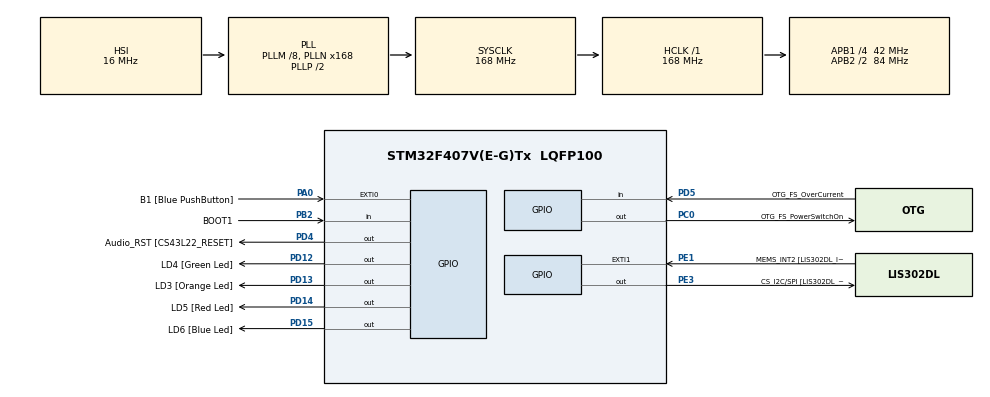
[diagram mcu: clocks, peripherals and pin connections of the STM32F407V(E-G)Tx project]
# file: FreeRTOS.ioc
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FREERTOS.INCLUDE_eTaskGetState=1
FREERTOS.INCLUDE_pcTaskGetTaskName=1
FREERTOS.INCLUDE_uxTaskGetStackHighWaterMark=1
FREERTOS.INCLUDE_uxTaskGetStackHighWaterMark2=1
FREERTOS.INCLUDE_vTaskCleanUpResources=1
FREERTOS.INCLUDE_vTaskDelayUntil=1
FREERTOS.INCLUDE_xQueueGetMutexHolder=1
FREERTOS.INCLUDE_xSemaphoreGetMutexHolder=1
FREERTOS.INCLUDE_xTaskAbortDelay=1
FREERTOS.INCLUDE_xTaskGetCurrentTaskHandle=1
FREERTOS.INCLUDE_xTaskGetHandle=1
FREERTOS.Tasks01=defaultTask,0,128,StartDefaultTask,Default,NULL,Dynamic,NULL,NULL
FREERTOS.configCHECK_FOR_STACK_OVERFLOW=2
FREERTOS.configENABLE_FPU=1
FREERTOS.configGENERATE_RUN_TIME_STATS=1
FREERTOS.configRECORD_STACK_HIGH_ADDRESS=1
FREERTOS.configUSE_APPLICATION_TASK_TAG=1
FREERTOS.configUSE_COUNTING_SEMAPHORES=1
FREERTOS.configUSE_CO_ROUTINES=1
FREERTOS.configUSE_IDLE_HOOK=1
FREERTOS.configUSE_MALLOC_FAILED_HOOK=1
FREERTOS.configUSE_NEWLIB_REENTRANT=1
FREERTOS.configUSE_POSIX_ERRNO=1
FREERTOS.configUSE_RECURSIVE_MUTEXES=1
FREERTOS.configUSE_STATS_FORMATTING_FUNCTIONS=1
FREERTOS.configUSE_TICKLESS_IDLE=1
FREERTOS.configUSE_TICK_HOOK=1
FREERTOS.configUSE_TIMERS=0
FREERTOS.configUSE_TRACE_FACILITY=1
Mcu.Family=STM32F4
Mcu.Name=STM32F407V(E-G)Tx
Mcu.Package=LQFP100
NVIC.PriorityGroup=NVIC_PRIORITYGROUP_4
NVIC.TIM6_DAC_IRQn=true\:15\:0\:false\:false\:true\:false\:false\:true\:true
NVIC.TimeBase=TIM6_DAC_IRQn
NVIC.TimeBaseIP=TIM6
PA0-WKUP.GPIO_Label=B1 [Blue PushButton]
PA0-WKUP.Signal=GPXTI0
PA10.GPIO_Label=OTG_FS_ID
PA10.GPIO_Mode=GPIO_MODE_AF_PP
PA10.GPIO_PuPd=GPIO_NOPULL
PA10.GPIO_Speed=GPIO_SPEED_FREQ_LOW
PA10.Signal=USB_OTG_FS_ID
PA11.GPIO_Label=OTG_FS_DM
PA11.GPIO_Mode=GPIO_MODE_AF_PP
PA11.GPIO_PuPd=GPIO_NOPULL
PA11.GPIO_Speed=GPIO_SPEED_FREQ_LOW
PA11.Signal=USB_OTG_FS_DM
PA12.GPIO_Label=OTG_FS_DP
PA12.GPIO_Mode=GPIO_MODE_AF_PP
PA12.GPIO_PuPd=GPIO_NOPULL
PA12.GPIO_Speed=GPIO_SPEED_FREQ_LOW
PA12.Signal=USB_OTG_FS_DP
PA13.GPIO_Label=SWDIO
PA13.Signal=SYS_JTMS-SWDIO
PA14.GPIO_Label=SWCLK
PA14.Signal=SYS_JTCK-SWCLK
PA4.GPIO_Label=I2S3_WS [CS43L22_LRCK]
PA4.GPIO_Mode=GPIO_MODE_AF_PP
PA4.GPIO_PuPd=GPIO_NOPULL
PA4.GPIO_Speed=GPIO_SPEED_FREQ_LOW
PA4.Signal=I2S3_WS
PA5.GPIO_Label=SPI1_SCK [LIS302DL_SCL/SPC]
PA5.GPIO_Mode=GPIO_MODE_AF_PP
PA5.GPIO_PuPd=GPIO_NOPULL
PA5.GPIO_Speed=GPIO_SPEED_FREQ_LOW
PA5.Signal=SPI1_SCK
PA6.GPIO_Label=SPI1_MISO [LIS302DL_SDO]
PA6.GPIO_Mode=GPIO_MODE_AF_PP
PA6.GPIO_PuPd=GPIO_NOPULL
PA6.GPIO_Speed=GPIO_SPEED_FREQ_LOW
PA6.Signal=SPI1_MISO
PA7.GPIO_Label=SPI1_MOSI [LIS302DL_SDA/SDI/SDO]
PA7.GPIO_Mode=GPIO_MODE_AF_PP
PA7.GPIO_PuPd=GPIO_NOPULL
PA7.GPIO_Speed=GPIO_SPEED_FREQ_LOW
PA7.Signal=SPI1_MOSI
PA9.GPIO_Label=VBUS_FS
PA9.GPIO_Mode=GPIO_MODE_INPUT
PA9.GPIO_PuPd=GPIO_NOPULL
PA9.Signal=USB_OTG_FS_VBUS
PB10.GPIO_Label=CLK_IN [MP45DT02_CLK]
PB10.GPIO_Mode=GPIO_MODE_AF_PP
PB10.GPIO_PuPd=GPIO_NOPULL
PB10.GPIO_Speed=GPIO_SPEED_FREQ_LOW
PB10.Signal=I2S2_CK
PB2.GPIO_Label=BOOT1
PB2.GPIO_Mode=GPIO_MODE_INPUT
PB2.GPIO_PuPd=GPIO_NOPULL
PB2.Signal=GPIO_Input
PB3.GPIO_Label=SWO
PB3.Signal=SYS_JTDO-SWO
PB6.GPIO_Label=Audio_SCL [CS43L22_SCL]
PB6.GPIO_Mode=GPIO_MODE_AF_OD
PB6.GPIO_PuPd=GPIO_NOPULL
PB6.GPIO_Speed=GPIO_SPEED_FREQ_LOW
PB6.Signal=I2C1_SCL
PB9.GPIO_Label=Audio_SDA [CS43L22_SDA]
PB9.GPIO_Mode=GPIO_MODE_AF_OD
PB9.GPIO_PuPd=GPIO_NOPULL
PB9.GPIO_Speed=GPIO_SPEED_FREQ_LOW
PB9.Signal=I2C1_SDA
PC0.GPIO_Label=OTG_FS_PowerSwitchOn
PC0.GPIO_PuPd=GPIO_NOPULL
PC0.GPIO_Speed=GPIO_SPEED_FREQ_LOW
PC0.PinState=GPIO_PIN_SET
PC0.Signal=GPIO_Output
PC10.GPIO_Label=I2S3_SCK [CS43L22_SCLK]
PC10.GPIO_Mode=GPIO_MODE_AF_PP
PC10.GPIO_PuPd=GPIO_NOPULL
PC10.GPIO_Speed=GPIO_SPEED_FREQ_LOW
PC10.Signal=I2S3_CK
PC12.GPIO_Label=I2S3_SD [CS43L22_SDIN]
PC12.GPIO_Mode=GPIO_MODE_AF_PP
PC12.GPIO_PuPd=GPIO_NOPULL
PC12.GPIO_Speed=GPIO_SPEED_FREQ_LOW
PC12.Signal=I2S3_SD
PC14-OSC32_IN.GPIO_Label=PC14-OSC32_IN
PC14-OSC32_IN.Signal=RCC_OSC32_IN
PC15-OSC32_OUT.GPIO_Label=PC15-OSC32_OUT
PC15-OSC32_OUT.Signal=RCC_OSC32_OUT
PC3.GPIO_Label=PDM_OUT [MP45DT02_DOUT]
PC3.GPIO_Mode=GPIO_MODE_AF_PP
PC3.GPIO_PuPd=GPIO_NOPULL
PC3.GPIO_Speed=GPIO_SPEED_FREQ_LOW
PC3.Signal=I2S2_SD
PC7.GPIO_Label=I2S3_MCK [CS43L22_MCLK]
PC7.GPIO_Mode=GPIO_MODE_AF_PP
PC7.GPIO_PuPd=GPIO_NOPULL
PC7.GPIO_Speed=GPIO_SPEED_FREQ_LOW
PC7.Signal=I2S3_MCK
PD12.GPIO_Label=LD4 [Green Led]
PD12.GPIO_PuPd=GPIO_NOPULL
PD12.GPIO_Speed=GPIO_SPEED_FREQ_LOW
PD12.Signal=GPIO_Output
PD13.GPIO_Label=LD3 [Orange Led]
PD13.GPIO_PuPd=GPIO_NOPULL
PD13.GPIO_Speed=GPIO_SPEED_FREQ_LOW
PD13.Signal=GPIO_Output
PD14.GPIO_Label=LD5 [Red Led]
PD14.GPIO_PuPd=GPIO_NOPULL
PD14.GPIO_Speed=GPIO_SPEED_FREQ_LOW
PD14.Signal=GPIO_Output
PD15.GPIO_Label=LD6 [Blue Led]
PD15.GPIO_PuPd=GPIO_NOPULL
PD15.GPIO_Speed=GPIO_SPEED_FREQ_LOW
PD15.Signal=GPIO_Output
PD4.GPIO_Label=Audio_RST [CS43L22_RESET]
PD4.GPIO_PuPd=GPIO_NOPULL
PD4.GPIO_Speed=GPIO_SPEED_FREQ_LOW
PD4.Signal=GPIO_Output
PD5.GPIO_Label=OTG_FS_OverCurrent
PD5.GPIO_Mode=GPIO_MODE_INPUT
PD5.GPIO_PuPd=GPIO_NOPULL
PD5.Signal=GPIO_Input
PE1.GPIO_Label=MEMS_INT2 [LIS302DL_INT2]
PE1.GPIO_ModeDefaultEXTI=GPIO_MODE_EVT_RISING
PE1.GPIO_PuPd=GPIO_NOPULL
PE1.Signal=GPXTI1
PE3.GPIO_Label=CS_I2C/SPI [LIS302DL_CS_I2C/SPI]
PE3.GPIO_PuPd=GPIO_NOPULL
PE3.GPIO_Speed=GPIO_SPEED_FREQ_LOW
PE3.Signal=GPIO_Output
PH0-OSC_IN.GPIO_Label=PH0-OSC_IN
PH0-OSC_IN.Signal=RCC_OSC_IN
PH1-OSC_OUT.GPIO_Label=PH1-OSC_OUT
PH1-OSC_OUT.Signal=RCC_OSC_OUT
ProjectManager.HeapSize=0x200
ProjectManager.StackSize=0x400
ProjectManager.TargetToolchain=STM32CubeIDE
RCC.48MHZClocksFreq_Value=48000000
RCC.AHBFreq_Value=168000000
RCC.APB1CLKDivider=RCC_HCLK_DIV4
RCC.APB1Freq_Value=42000000
RCC.APB1TimFreq_Value=84000000
RCC.APB2CLKDivider=RCC_HCLK_DIV2
RCC.APB2Freq_Value=84000000
RCC.APB2TimFreq_Value=168000000
RCC.CortexFreq_Value=168000000
RCC.HCLKFreq_Value=168000000
RCC.HSE_VALUE=8000000
RCC.HSI_VALUE=16000000
RCC.LSE_VALUE=32768
RCC.PLLM=8
RCC.PLLN=168
RCC.PLLQ=7
RCC.SYSCLKFreq_VALUE=168000000
RCC.SYSCLKSource=RCC_SYSCLKSOURCE_PLLCLK
RCC.VCOOutputFreq_Value=336000000
VP_FREERTOS_VS_CMSIS_V1.Mode=CMSIS_V1
VP_SYS_VS_tim6.Mode=TIM6
board=STM32F407G-DISC1

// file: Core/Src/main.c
/* USER CODE BEGIN Header */
/**
  ******************************************************************************
  * @file           : main.c
  * @brief          : Main program body
  ******************************************************************************
  * @attention
  *
  * Copyright (c) 2022 STMicroelectronics.
  * All rights reserved.
  *
  * This software is licensed under terms that can be found in the LICENSE file
  * in the root directory of this software component.
  * If no LICENSE file comes with this software, it is provided AS-IS.
  *
  ******************************************************************************
  */
/* USER CODE END Header */
#include "main.h"
#include "cmsis_os.h"

/* USER CODE BEGIN Includes */
#include "FreeRTOS.h"
#include "task.h"
#include <stdio.h>
/* USER CODE END Includes */

osThreadId defaultTaskHandle;

void SystemClock_Config(void);
static void MX_GPIO_Init(void);
void StartDefaultTask(void const * argument);

/* USER CODE BEGIN PFP */
static void led_green_function(void* params);
static void led_orange_function(void* params);
static void led_red_function(void* params);
static void led_blue_function(void* params);
/* USER CODE END PFP */

int main(void)
{
  /* USER CODE BEGIN 1 */
	TaskHandle_t led_green, led_red, led_orange, led_blue, button;
	BaseType_t status;
  /* USER CODE END 1 */

  /* MCU Configuration--------------------------------------------------------*/

  /* Reset of all peripherals, Initializes the Flash interface and the Systick. */
  HAL_Init();

  /* Configure the system clock */
  SystemClock_Config();

  /* Initialize all configured peripherals */
  MX_GPIO_Init();
  /* USER CODE BEGIN 2 */
  //Task 1
  status = xTaskCreate(led_green_function, "Green LED", 200, NULL, 2, &led_green);
  configASSERT(status == pdPASS);

  //Task 2
  status = xTaskCreate(led_orange_function, "Orange LED", 200, NULL, 2, &led_orange);
  configASSERT(status == pdPASS);

  //Task 3
  status = xTaskCreate(led_red_function, "Red LED", 200, NULL, 2, &led_red);
  configASSERT(status == pdPASS);

  //Task 4
  status = xTaskCreate(led_blue_function, "Blue LED", 200, NULL, 2, &led_blue);
  configASSERT(status == pdPASS);

  vTaskStartScheduler();
  /* USER CODE END 2 */

  /* Create the thread(s) */
  /* definition and creation of defaultTask */
  osThreadDef(defaultTask, StartDefaultTask, osPriorityNormal, 0, 128);
  defaultTaskHandle = osThreadCreate(osThread(defaultTask), NULL);

  /* Start scheduler */
  osKernelStart();
  /* We should never get here as control is now taken by the scheduler */
  /* Infinite loop */
  while (1)
  {

  }
}

void SystemClock_Config(void)
{
  RCC_OscInitTypeDef RCC_OscInitStruct = {0};
  RCC_ClkInitTypeDef RCC_ClkInitStruct = {0};

  /** Configure the main internal regulator output voltage
  */
  __HAL_RCC_PWR_CLK_ENABLE();
  __HAL_PWR_VOLTAGESCALING_CONFIG(PWR_REGULATOR_VOLTAGE_SCALE1);

  /** Initializes the RCC Oscillators according to the specified parameters
  * in the RCC_OscInitTypeDef structure.
  */
  RCC_OscInitStruct.OscillatorType = RCC_OSCILLATORTYPE_HSI;
  RCC_OscInitStruct.HSIState = RCC_HSI_ON;
  RCC_OscInitStruct.HSICalibrationValue = RCC_HSICALIBRATION_DEFAULT;
  RCC_OscInitStruct.PLL.PLLState = RCC_PLL_ON;
  RCC_OscInitStruct.PLL.PLLSource = RCC_PLLSOURCE_HSI;
  RCC_OscInitStruct.PLL.PLLM = 8;
  RCC_OscInitStruct.PLL.PLLN = 168;
  RCC_OscInitStruct.PLL.PLLP = RCC_PLLP_DIV2;
  RCC_OscInitStruct.PLL.PLLQ = 7;
  if (HAL_RCC_OscConfig(&RCC_OscInitStruct) != HAL_OK)
  {
    Error_Handler();
  }

  /** Initializes the CPU, AHB and APB buses clocks
  */
  RCC_ClkInitStruct.ClockType = RCC_CLOCKTYPE_HCLK|RCC_CLOCKTYPE_SYSCLK
                              |RCC_CLOCKTYPE_PCLK1|RCC_CLOCKTYPE_PCLK2;
  RCC_ClkInitStruct.SYSCLKSource = RCC_SYSCLKSOURCE_PLLCLK;
  RCC_ClkInitStruct.AHBCLKDivider = RCC_SYSCLK_DIV1;
  RCC_ClkInitStruct.APB1CLKDivider = RCC_HCLK_DIV4;
  RCC_ClkInitStruct.APB2CLKDivider = RCC_HCLK_DIV2;

  if (HAL_RCC_ClockConfig(&RCC_ClkInitStruct, FLASH_LATENCY_5) != HAL_OK)
  {
    Error_Handler();
  }
}

static void MX_GPIO_Init(void)
{
  GPIO_InitTypeDef GPIO_InitStruct = {0};

  /* GPIO Ports Clock Enable */
  __HAL_RCC_GPIOE_CLK_ENABLE();
  __HAL_RCC_GPIOC_CLK_ENABLE();
  __HAL_RCC_GPIOH_CLK_ENABLE();
  __HAL_RCC_GPIOA_CLK_ENABLE();
  __HAL_RCC_GPIOB_CLK_ENABLE();
  __HAL_RCC_GPIOD_CLK_ENABLE();

  /*Configure GPIO pin Output Level */
  HAL_GPIO_WritePin(CS_I2C_SPI_GPIO_Port, CS_I2C_SPI_Pin, GPIO_PIN_RESET);

  /*Configure GPIO pin Output Level */
  HAL_GPIO_WritePin(OTG_FS_PowerSwitchOn_GPIO_Port, OTG_FS_PowerSwitchOn_Pin, GPIO_PIN_SET);

  /*Configure GPIO pin Output Level */
  HAL_GPIO_WritePin(GPIOD, LD4_Pin|LD3_Pin|LD5_Pin|LD6_Pin
                          |Audio_RST_Pin, GPIO_PIN_RESET);

  /*Configure GPIO pin : CS_I2C_SPI_Pin */
  GPIO_InitStruct.Pin = CS_I2C_SPI_Pin;
  GPIO_InitStruct.Mode = GPIO_MODE_OUTPUT_PP;
  GPIO_InitStruct.Pull = GPIO_NOPULL;
  GPIO_InitStruct.Speed = GPIO_SPEED_FREQ_LOW;
  HAL_GPIO_Init(CS_I2C_SPI_GPIO_Port, &GPIO_InitStruct);

  /*Configure GPIO pin : OTG_FS_PowerSwitchOn_Pin */
  GPIO_InitStruct.Pin = OTG_FS_PowerSwitchOn_Pin;
  GPIO_InitStruct.Mode = GPIO_MODE_OUTPUT_PP;
  GPIO_InitStruct.Pull = GPIO_NOPULL;
  GPIO_InitStruct.Speed = GPIO_SPEED_FREQ_LOW;
  HAL_GPIO_Init(OTG_FS_PowerSwitchOn_GPIO_Port, &GPIO_InitStruct);

  /*Configure GPIO pin : PDM_OUT_Pin */
  GPIO_InitStruct.Pin = PDM_OUT_Pin;
  GPIO_InitStruct.Mode = GPIO_MODE_AF_PP;
  GPIO_InitStruct.Pull = GPIO_NOPULL;
  GPIO_InitStruct.Speed = GPIO_SPEED_FREQ_LOW;
  GPIO_InitStruct.Alternate = GPIO_AF5_SPI2;
  HAL_GPIO_Init(PDM_OUT_GPIO_Port, &GPIO_InitStruct);

  /*Configure GPIO pin : B1_Pin */
  GPIO_InitStruct.Pin = B1_Pin;
  GPIO_InitStruct.Mode = GPIO_MODE_IT_RISING;
  GPIO_InitStruct.Pull = GPIO_NOPULL;
  HAL_GPIO_Init(B1_GPIO_Port, &GPIO_InitStruct);

  /*Configure GPIO pin : I2S3_WS_Pin */
  GPIO_InitStruct.Pin = I2S3_WS_Pin;
  GPIO_InitStruct.Mode = GPIO_MODE_AF_PP;
  GPIO_InitStruct.Pull = GPIO_NOPULL;
  GPIO_InitStruct.Speed = GPIO_SPEED_FREQ_LOW;
  GPIO_InitStruct.Alternate = GPIO_AF6_SPI3;
  HAL_GPIO_Init(I2S3_WS_GPIO_Port, &GPIO_InitStruct);

  /*Configure GPIO pins : SPI1_SCK_Pin SPI1_MISO_Pin SPI1_MOSI_Pin */
  GPIO_InitStruct.Pin = SPI1_SCK_Pin|SPI1_MISO_Pin|SPI1_MOSI_Pin;
  GPIO_InitStruct.Mode = GPIO_MODE_AF_PP;
  GPIO_InitStruct.Pull = GPIO_NOPULL;
  GPIO_InitStruct.Speed = GPIO_SPEED_FREQ_LOW;
  GPIO_InitStruct.Alternate = GPIO_AF5_SPI1;
  HAL_GPIO_Init(GPIOA, &GPIO_InitStruct);

  /*Configure GPIO pin : BOOT1_Pin */
  GPIO_InitStruct.Pin = BOOT1_Pin;
  GPIO_InitStruct.Mode = GPIO_MODE_INPUT;
  GPIO_InitStruct.Pull = GPIO_NOPULL;
  HAL_GPIO_Init(BOOT1_GPIO_Port, &GPIO_InitStruct);

  /*Configure GPIO pin : CLK_IN_Pin */
  GPIO_InitStruct.Pin = CLK_IN_Pin;
  GPIO_InitStruct.Mode = GPIO_MODE_AF_PP;
  GPIO_InitStruct.Pull = GPIO_NOPULL;
  GPIO_InitStruct.Speed = GPIO_SPEED_FREQ_LOW;
  GPIO_InitStruct.Alternate = GPIO_AF5_SPI2;
  HAL_GPIO_Init(CLK_IN_GPIO_Port, &GPIO_InitStruct);

  /*Configure GPIO pins : LD4_Pin LD3_Pin LD5_Pin LD6_Pin
                           Audio_RST_Pin */
  GPIO_InitStruct.Pin = LD4_Pin|LD3_Pin|LD5_Pin|LD6_Pin
                          |Audio_RST_Pin;
  GPIO_InitStruct.Mode = GPIO_MODE_OUTPUT_PP;
  GPIO_InitStruct.Pull = GPIO_NOPULL;
  GPIO_InitStruct.Speed = GPIO_SPEED_FREQ_LOW;
  HAL_GPIO_Init(GPIOD, &GPIO_InitStruct);

  /*Configure GPIO pins : I2S3_MCK_Pin I2S3_SCK_Pin I2S3_SD_Pin */
  GPIO_InitStruct.Pin = I2S3_MCK_Pin|I2S3_SCK_Pin|I2S3_SD_Pin;
  GPIO_InitStruct.Mode = GPIO_MODE_AF_PP;
  GPIO_InitStruct.Pull = GPIO_NOPULL;
  GPIO_InitStruct.Speed = GPIO_SPEED_FREQ_LOW;
  GPIO_InitStruct.Alternate = GPIO_AF6_SPI3;
  HAL_GPIO_Init(GPIOC, &GPIO_InitStruct);

  /*Configure GPIO pin : VBUS_FS_Pin */
  GPIO_InitStruct.Pin = VBUS_FS_Pin;
  GPIO_InitStruct.Mode = GPIO_MODE_INPUT;
  GPIO_InitStruct.Pull = GPIO_NOPULL;
  HAL_GPIO_Init(VBUS_FS_GPIO_Port, &GPIO_InitStruct);

  /*Configure GPIO pins : OTG_FS_ID_Pin OTG_FS_DM_Pin OTG_FS_DP_Pin */
  GPIO_InitStruct.Pin = OTG_FS_ID_Pin|OTG_FS_DM_Pin|OTG_FS_DP_Pin;
  GPIO_InitStruct.Mode = GPIO_MODE_AF_PP;
  GPIO_InitStruct.Pull = GPIO_NOPULL;
  GPIO_InitStruct.Speed = GPIO_SPEED_FREQ_LOW;
  GPIO_InitStruct.Alternate = GPIO_AF10_OTG_FS;
  HAL_GPIO_Init(GPIOA, &GPIO_InitStruct);

  /*Configure GPIO pin : OTG_FS_OverCurrent_Pin */
  GPIO_InitStruct.Pin = OTG_FS_OverCurrent_Pin;
  GPIO_InitStruct.Mode = GPIO_MODE_INPUT;
  GPIO_InitStruct.Pull = GPIO_NOPULL;
  HAL_GPIO_Init(OTG_FS_OverCurrent_GPIO_Port, &GPIO_InitStruct);

  /*Configure GPIO pins : Audio_SCL_Pin Audio_SDA_Pin */
  GPIO_InitStruct.Pin = Audio_SCL_Pin|Audio_SDA_Pin;
  GPIO_InitStruct.Mode = GPIO_MODE_AF_OD;
  GPIO_InitStruct.Pull = GPIO_NOPULL;
  GPIO_InitStruct.Speed = GPIO_SPEED_FREQ_LOW;
  GPIO_InitStruct.Alternate = GPIO_AF4_I2C1;
  HAL_GPIO_Init(GPIOB, &GPIO_InitStruct);

  /*Configure GPIO pin : MEMS_INT2_Pin */
  GPIO_InitStruct.Pin = MEMS_INT2_Pin;
  GPIO_InitStruct.Mode = GPIO_MODE_EVT_RISING;
  GPIO_InitStruct.Pull = GPIO_NOPULL;
  HAL_GPIO_Init(MEMS_INT2_GPIO_Port, &GPIO_InitStruct);

}

/* USER CODE BEGIN 4 */
static void led_green_function(void* params)
{
	TickType_t last_wakeup = xTaskGetTickCount();
	while(1)
	{
		printf("Green LED Task\n");
		HAL_GPIO_TogglePin(GPIOD, LD4_Pin);
//		HAL_Delay(1000);
		vTaskDelay( pdMS_TO_TICKS( 1000 ) );
//		vTaskDelayUntil(&last_wakeup, pdMS_TO_TICKS( 250 ) );
	}
}

static void led_orange_function(void* params)
{
	TickType_t last_wakeup = xTaskGetTickCount();
	while(1)
	{
		printf("Orange LED Task\n");
		HAL_GPIO_TogglePin(GPIOD, LD3_Pin);
//		HAL_Delay(750);
		vTaskDelay( pdMS_TO_TICKS( 750 ) );
//		vTaskDelayUntil(&last_wakeup, pdMS_TO_TICKS( 500 ) );
	}
}

static void led_red_function(void* params)
{
	TickType_t last_wakeup = xTaskGetTickCount();
	while(1)
	{
		printf("Red LED Task\n");
		HAL_GPIO_TogglePin(GPIOD, LD5_Pin);
//		HAL_Delay(500);
		vTaskDelay( pdMS_TO_TICKS( 500 ) );
//		vTaskDelayUntil(&last_wakeup, pdMS_TO_TICKS( 750 ) );
	}
}

static void led_blue_function(void* params)
{
	TickType_t last_wakeup = xTaskGetTickCount();
	while(1)
	{
		printf("Blue LED Task\n");
		HAL_GPIO_TogglePin(GPIOD, LD6_Pin);
//		HAL_Delay(500);
		vTaskDelay( pdMS_TO_TICKS( 250 ) );
//		vTaskDelayUntil(&last_wakeup, pdMS_TO_TICKS( 1000 ) );
	}
}

/* USER CODE END 4 */

void StartDefaultTask(void const * argument)
{
  for(;;)
  {
    osDelay(1);
  }
}

void HAL_TIM_PeriodElapsedCallback(TIM_HandleTypeDef *htim)
{
  if (htim->Instance == TIM6) {
    HAL_IncTick();
  }
}

void Error_Handler(void)
{
  __disable_irq();
  while (1)
  {
  }
}

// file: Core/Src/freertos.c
/* USER CODE BEGIN Header */
/**
  ******************************************************************************
  * File Name          : freertos.c
  * Description        : Code for freertos applications
  ******************************************************************************
  * @attention
  *
  * Copyright (c) 2023 STMicroelectronics.
  * All rights reserved.
  *
  * This software is licensed under terms that can be found in the LICENSE file
  * in the root directory of this software component.
  * If no LICENSE file comes with this software, it is provided AS-IS.
  *
  ******************************************************************************
  */
/* USER CODE END Header */

#include "FreeRTOS.h"
#include "task.h"
#include "main.h"

/* GetIdleTaskMemory prototype (linked to static allocation support) */
void vApplicationGetIdleTaskMemory( StaticTask_t **ppxIdleTaskTCBBuffer, StackType_t **ppxIdleTaskStackBuffer, uint32_t *pulIdleTaskStackSize );

/* Hook prototypes */
void configureTimerForRunTimeStats(void);
unsigned long getRunTimeCounterValue(void);
void vApplicationIdleHook(void);
void vApplicationTickHook(void);
void vApplicationStackOverflowHook(xTaskHandle xTask, signed char *pcTaskName);
void vApplicationMallocFailedHook(void);

/* USER CODE BEGIN 1 */
/* Functions needed when configGENERATE_RUN_TIME_STATS is on */
__weak void configureTimerForRunTimeStats(void)
{

}

__weak unsigned long getRunTimeCounterValue(void)
{
return 0;
}
/* USER CODE END 1 */

/* USER CODE BEGIN 2 */
__weak void vApplicationIdleHook( void )
{
   /* vApplicationIdleHook() will only be called if configUSE_IDLE_HOOK is set
   to 1 in FreeRTOSConfig.h. It will be called on each iteration of the idle
   task. It is essential that code added to this hook function never attempts
   to block in any way (for example, call xQueueReceive() with a block time
   specified, or call vTaskDelay()). If the application makes use of the
   vTaskDelete() API function (as this demo application does) then it is also
   important that vApplicationIdleHook() is permitted to return to its calling
   function, because it is the responsibility of the idle task to clean up
   memory allocated by the kernel to any task that has since been deleted. */
}
/* USER CODE END 2 */

/* USER CODE BEGIN 3 */
__weak void vApplicationTickHook( void )
{
   /* This function will be called by each tick interrupt if
   configUSE_TICK_HOOK is set to 1 in FreeRTOSConfig.h. User code can be
   added here, but the tick hook is called from an interrupt context, so
   code must not attempt to block, and only the interrupt safe FreeRTOS API
   functions can be used (those that end in FromISR()). */
}
/* USER CODE END 3 */

/* USER CODE BEGIN 4 */
__weak void vApplicationStackOverflowHook(xTaskHandle xTask, signed char *pcTaskName)
{
   /* Run time stack overflow checking is performed if
   configCHECK_FOR_STACK_OVERFLOW is defined to 1 or 2. This hook function is
   called if a stack overflow is detected. */
}
/* USER CODE END 4 */

/* USER CODE BEGIN 5 */
__weak void vApplicationMallocFailedHook(void)
{
   /* vApplicationMallocFailedHook() will only be called if
   configUSE_MALLOC_FAILED_HOOK is set to 1 in FreeRTOSConfig.h. It is a hook
   function that will get called if a call to pvPortMalloc() fails.
   pvPortMalloc() is called internally by the kernel whenever a task, queue,
   timer or semaphore is created. It is also called by various parts of the
   demo application. If heap_1.c or heap_2.c are used, then the size of the
   heap available to pvPortMalloc() is defined by configTOTAL_HEAP_SIZE in
   FreeRTOSConfig.h, and the xPortGetFreeHeapSize() API function can be used
   to query the size of free heap space that remains (although it does not
   provide information on how the remaining heap might be fragmented). */
}
/* USER CODE END 5 */

/* USER CODE BEGIN PREPOSTSLEEP */
__weak void PreSleepProcessing(uint32_t ulExpectedIdleTime)
{
/* place for user code */
}

__weak void PostSleepProcessing(uint32_t ulExpectedIdleTime)
{
/* place for user code */
}
/* USER CODE END PREPOSTSLEEP */

/* USER CODE BEGIN GET_IDLE_TASK_MEMORY */
static StaticTask_t xIdleTaskTCBBuffer;
static StackType_t xIdleStack[configMINIMAL_STACK_SIZE];

void vApplicationGetIdleTaskMemory( StaticTask_t **ppxIdleTaskTCBBuffer, StackType_t **ppxIdleTaskStackBuffer, uint32_t *pulIdleTaskStackSize )
{
  *ppxIdleTaskTCBBuffer = &xIdleTaskTCBBuffer;
  *ppxIdleTaskStackBuffer = &xIdleStack[0];
  *pulIdleTaskStackSize = configMINIMAL_STACK_SIZE;
  /* place for user code */
}
/* USER CODE END GET_IDLE_TASK_MEMORY */
